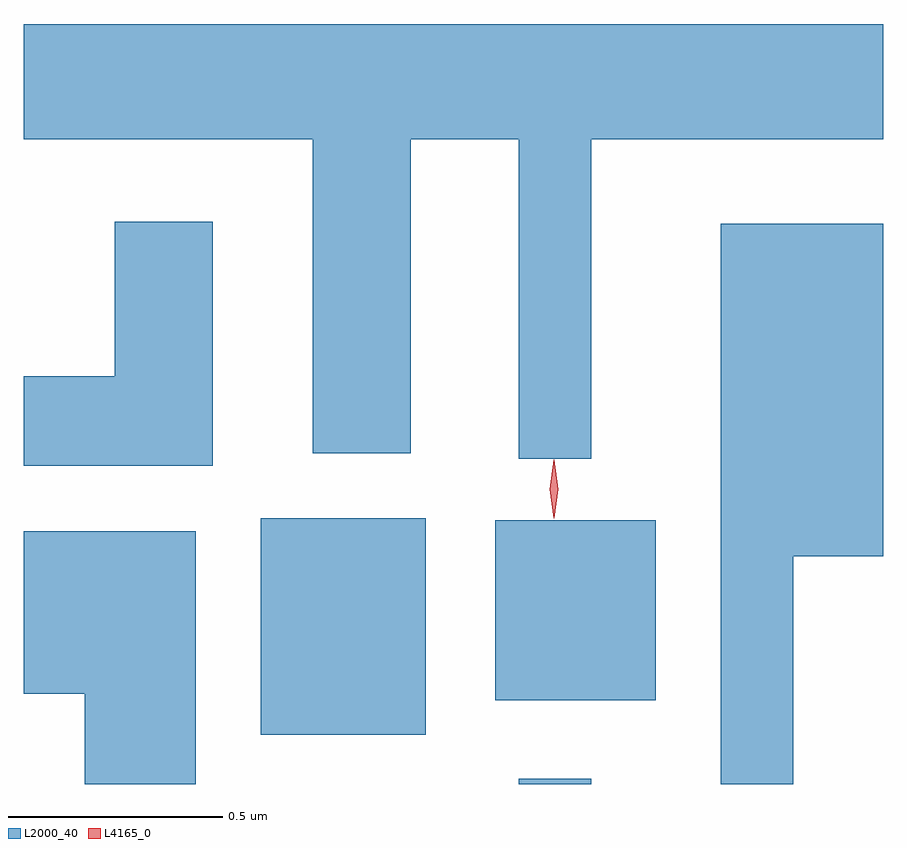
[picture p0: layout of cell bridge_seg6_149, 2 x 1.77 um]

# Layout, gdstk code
import gdstk
lib = gdstk.Library(unit=1e-6, precision=1e-09)
def R(c, l, rs):  # rectangles x0, y0, x1, y1
    for r in rs: c.add(gdstk.rectangle(r[:2], r[2:], *l))
def P(c, l, *ps):  # polygons
    for p in ps: c.add(gdstk.Polygon(p, *l))
L2000_40 = (2000, 40)
L4165_0 = (4165, 0)

bridge_seg6_149 = lib.new_cell('bridge_seg6_149')
R(bridge_seg6_149, L2000_40, [(1026.021,1610.696,1026.189,1610.708), (1025.421,1610.811,1025.804,1611.314), (1025.966,1610.891,1026.339,1611.309)])
P(bridge_seg6_149, L2000_40, [(1026.189,1612.196),(1026.869,1612.196),(1026.869,1612.464),(1024.869,1612.464),(1024.869,1612.196),(1025.541,1612.196),(1025.541,1611.466),(1025.769,1611.466),(1025.769,1612.196),(1026.021,1612.196),(1026.021,1611.453),(1026.189,1611.453)],
  [(1025.309,1612.004),(1025.081,1612.004),(1025.081,1611.644),(1024.869,1611.644),(1024.869,1611.436),(1025.309,1611.436)],
  [(1026.659,1611.226),(1026.869,1611.226),(1026.869,1611.999),(1026.491,1611.999),(1026.491,1610.696),(1026.659,1610.696)],
  [(1025.269,1611.284),(1024.869,1611.284),(1024.869,1610.906),(1025.011,1610.906),(1025.011,1610.696),(1025.269,1610.696)])
P(bridge_seg6_149, L4165_0, [(1026.102,1611.314),(1026.093,1611.382),(1026.102,1611.45),(1026.103,1611.45),(1026.103,1611.45),(1026.113,1611.382),(1026.103,1611.314),(1026.103,1611.314)],
  [(1026.102,1611.318),(1026.093,1611.382),(1026.102,1611.447),(1026.103,1611.447),(1026.103,1611.447),(1026.113,1611.382),(1026.103,1611.318),(1026.103,1611.318)])

lib.write_gds('bridge_seg6_149.gds')
